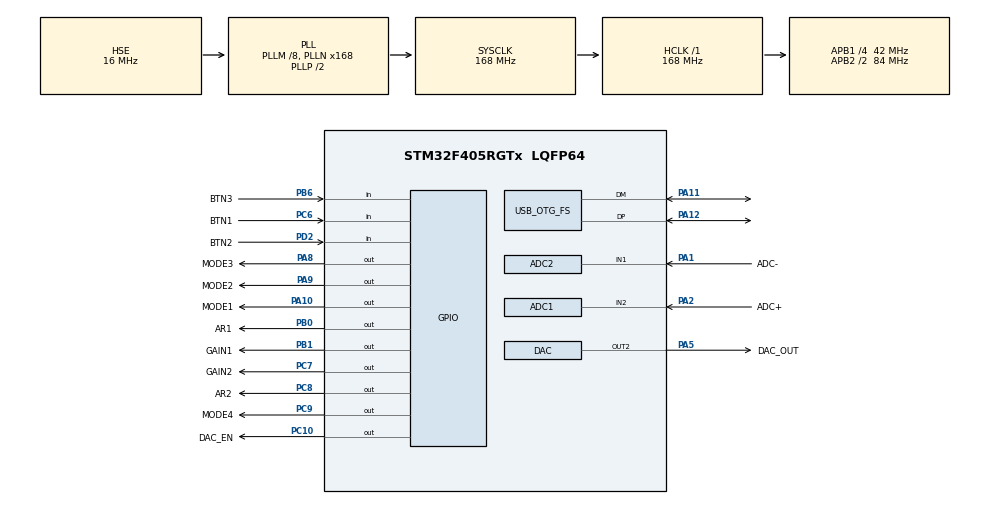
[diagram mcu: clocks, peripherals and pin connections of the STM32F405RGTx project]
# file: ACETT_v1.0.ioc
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ADC1.Channel-0\#ChannelRegularConversion=ADC_CHANNEL_2
ADC1.DMAContinuousRequests=ENABLE
ADC1.ExternalTrigConv=ADC_EXTERNALTRIGCONV_T8_TRGO
ADC1.NbrOfConversionFlag=1
ADC1.Rank-0\#ChannelRegularConversion=1
ADC1.SamplingTime-0\#ChannelRegularConversion=ADC_SAMPLETIME_3CYCLES
ADC1.master=1
ADC2.Channel-0\#ChannelRegularConversion=ADC_CHANNEL_1
ADC2.DMAContinuousRequests=ENABLE
ADC2.ExternalTrigConv=ADC_EXTERNALTRIGCONV_T8_TRGO
ADC2.NbrOfConversionFlag=1
ADC2.Rank-0\#ChannelRegularConversion=1
ADC2.SamplingTime-0\#ChannelRegularConversion=ADC_SAMPLETIME_3CYCLES
DAC.DAC_Trigger2=DAC_TRIGGER_T8_TRGO
Dma.ADC1.1.Direction=DMA_PERIPH_TO_MEMORY
Dma.ADC1.1.FIFOMode=DMA_FIFOMODE_DISABLE
Dma.ADC1.1.Instance=DMA2_Stream0
Dma.ADC1.1.MemDataAlignment=DMA_MDATAALIGN_HALFWORD
Dma.ADC1.1.MemInc=DMA_MINC_ENABLE
Dma.ADC1.1.Mode=DMA_CIRCULAR
Dma.ADC1.1.PeriphDataAlignment=DMA_PDATAALIGN_HALFWORD
Dma.ADC1.1.PeriphInc=DMA_PINC_DISABLE
Dma.ADC1.1.Priority=DMA_PRIORITY_HIGH
Dma.ADC2.2.Direction=DMA_PERIPH_TO_MEMORY
Dma.ADC2.2.FIFOMode=DMA_FIFOMODE_DISABLE
Dma.ADC2.2.Instance=DMA2_Stream2
Dma.ADC2.2.MemDataAlignment=DMA_MDATAALIGN_HALFWORD
Dma.ADC2.2.MemInc=DMA_MINC_ENABLE
Dma.ADC2.2.Mode=DMA_CIRCULAR
Dma.ADC2.2.PeriphDataAlignment=DMA_PDATAALIGN_HALFWORD
Dma.ADC2.2.PeriphInc=DMA_PINC_DISABLE
Dma.ADC2.2.Priority=DMA_PRIORITY_HIGH
Dma.DAC2.0.Direction=DMA_MEMORY_TO_PERIPH
Dma.DAC2.0.FIFOMode=DMA_FIFOMODE_DISABLE
Dma.DAC2.0.Instance=DMA1_Stream6
Dma.DAC2.0.MemDataAlignment=DMA_MDATAALIGN_WORD
Dma.DAC2.0.MemInc=DMA_MINC_ENABLE
Dma.DAC2.0.Mode=DMA_CIRCULAR
Dma.DAC2.0.PeriphDataAlignment=DMA_PDATAALIGN_WORD
Dma.DAC2.0.PeriphInc=DMA_PINC_DISABLE
Dma.DAC2.0.Priority=DMA_PRIORITY_HIGH
Dma.Request0=DAC2
Dma.Request1=ADC1
Dma.Request2=ADC2
Mcu.Family=STM32F4
Mcu.Name=STM32F405RGTx
Mcu.Package=LQFP64
NVIC.DMA1_Stream6_IRQn=true\:0\:0\:false\:false\:true\:false\:true\:true
NVIC.DMA2_Stream0_IRQn=true\:0\:0\:false\:false\:true\:false\:true\:true
NVIC.DMA2_Stream2_IRQn=true\:0\:0\:false\:false\:true\:false\:true\:true
NVIC.OTG_FS_IRQn=true\:0\:0\:false\:false\:true\:false\:true\:true
NVIC.PriorityGroup=NVIC_PRIORITYGROUP_4
PA1.GPIO_Label=ADC-
PA1.Signal=ADCx_IN1
PA10.GPIO_Label=MODE1
PA10.Signal=GPIO_Output
PA11.Mode=Device_Only
PA11.Signal=USB_OTG_FS_DM
PA12.Mode=Device_Only
PA12.Signal=USB_OTG_FS_DP
PA2.GPIO_Label=ADC+
PA2.Signal=ADCx_IN2
PA5.GPIO_Label=DAC_OUT
PA5.Signal=COMP_DAC2_group
PA8.GPIO_Label=MODE3
PA8.Signal=GPIO_Output
PA9.GPIO_Label=MODE2
PA9.Signal=GPIO_Output
PB0.GPIO_Label=AR1
PB0.GPIO_PuPd=GPIO_PULLDOWN
PB0.Signal=GPIO_Output
PB1.GPIO_Label=GAIN1
PB1.GPIO_PuPd=GPIO_PULLDOWN
PB1.PinState=GPIO_PIN_RESET
PB1.Signal=GPIO_Output
PB6.GPIO_Label=BTN3
PB6.Signal=GPIO_Input
PC10.GPIO_Label=DAC_EN
PC10.GPIO_PuPd=GPIO_PULLUP
PC10.PinState=GPIO_PIN_SET
PC10.Signal=GPIO_Output
PC6.GPIO_Label=BTN1
PC6.Signal=GPIO_Input
PC7.GPIO_Label=GAIN2
PC7.GPIO_PuPd=GPIO_PULLDOWN
PC7.Signal=GPIO_Output
PC8.GPIO_Label=AR2
PC8.GPIO_PuPd=GPIO_PULLDOWN
PC8.Signal=GPIO_Output
PC9.GPIO_Label=MODE4
PC9.Signal=GPIO_Output
PD2.GPIO_Label=BTN2
PD2.Signal=GPIO_Input
PH0-OSC_IN.Mode=HSE-External-Oscillator
PH0-OSC_IN.Signal=RCC_OSC_IN
PH1-OSC_OUT.Mode=HSE-External-Oscillator
PH1-OSC_OUT.Signal=RCC_OSC_OUT
ProjectManager.HeapSize=0x200
ProjectManager.StackSize=0x400
ProjectManager.TargetToolchain=STM32CubeIDE
RCC.48MHZClocksFreq_Value=48000000
RCC.AHBFreq_Value=168000000
RCC.APB1CLKDivider=RCC_HCLK_DIV4
RCC.APB1Freq_Value=42000000
RCC.APB1TimFreq_Value=84000000
RCC.APB2CLKDivider=RCC_HCLK_DIV2
RCC.APB2Freq_Value=84000000
RCC.APB2TimFreq_Value=168000000
RCC.CortexFreq_Value=168000000
RCC.HCLKFreq_Value=168000000
RCC.HSE_VALUE=16000000
RCC.HSI_VALUE=16000000
RCC.LSE_VALUE=32768
RCC.PLLM=8
RCC.PLLN=168
RCC.PLLQ=7
RCC.SYSCLKFreq_VALUE=168000000
RCC.SYSCLKSource=RCC_SYSCLKSOURCE_PLLCLK
RCC.VCOOutputFreq_Value=336000000
SH.ADCx_IN1.0=ADC2_IN1,IN1
SH.ADCx_IN2.0=ADC1_IN2,IN2
SH.COMP_DAC2_group.0=DAC_OUT2,DAC_OUT2
TIM8.AutoReloadPreload=TIM_AUTORELOAD_PRELOAD_ENABLE
TIM8.Period=3499
TIM8.TIM_MasterOutputTrigger=TIM_TRGO_UPDATE
USB_DEVICE.CLASS_NAME_FS=CDC
USB_DEVICE.VirtualMode-CDC_FS=Cdc
USB_DEVICE.VirtualModeFS=Cdc_FS
USB_OTG_FS.VirtualMode=Device_Only
VP_TIM8_VS_ClockSourceINT.Mode=Internal
VP_USB_DEVICE_VS_USB_DEVICE_CDC_FS.Mode=CDC_FS
board=custom

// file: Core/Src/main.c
/* USER CODE BEGIN Header */
/**
  ******************************************************************************
  * @file           : main.c
  * @brief          : Main program body
  ******************************************************************************
  * @attention
  *
  * Copyright (c) 2023 STMicroelectronics.
  * All rights reserved.
  *
  * This software is licensed under terms that can be found in the LICENSE file
  * in the root directory of this software component.
  * If no LICENSE file comes with this software, it is provided AS-IS.
  *
  ******************************************************************************
  */
#define ARM_MATH_CM4
/* USER CODE END Header */
#include "main.h"
#include "usb_device.h"

/* USER CODE BEGIN Includes */
#include "arm_math.h"
#include "math.h"
#include "usbd_cdc_if.h"
#include "KalmanFilter.h"
/* USER CODE END Includes */

/* USER CODE BEGIN PTD */
#define DATASIZE 1024
#define FULLSIZE 2048
#define Fs 48000
/* USER CODE END PTD */

ADC_HandleTypeDef hadc1;
ADC_HandleTypeDef hadc2;
DMA_HandleTypeDef hdma_adc1;
DMA_HandleTypeDef hdma_adc2;

DAC_HandleTypeDef hdac;
DMA_HandleTypeDef hdma_dac2;

TIM_HandleTypeDef htim8;

void SystemClock_Config(void);
static void MX_GPIO_Init(void);
static void MX_DMA_Init(void);
static void MX_ADC1_Init(void);
static void MX_ADC2_Init(void);
static void MX_DAC_Init(void);
static void MX_TIM8_Init(void);

/* USER CODE BEGIN 0 */
uint16_t ADC1_buf[FULLSIZE]; //ADC1 DMA buffer
uint16_t ADC2_buf[FULLSIZE]; //ADC2 DMA buffer
uint32_t DAC_buf[FULLSIZE]; //DAC DMA buffer
float32_t data[DATASIZE]; //processing buffer for each window
float32_t datasqrd[DATASIZE]; //squared buffer
float32_t SPL; //SPL measurement

static volatile uint16_t* inbufPtr1;
static volatile uint16_t* inbufPtr2;
static volatile uint32_t* outbufPtr;

arm_rfft_fast_instance_f32 FFT_IFFT_struct; //handler of FFT process
float32_t fftBuffer[DATASIZE]; //main FFT buffer - complex values
float32_t fftMAG[DATASIZE/2]; //main magnitudes FFT buffer - real values
float32_t synthBuffer[DATASIZE]; //synthesize buffer to create the output signal
float32_t ifftBuffer[DATASIZE]; //output signal after RIFFT process
uint32_t maxIndex[3]; //holds the indexes of FFT magnitudes at max values
float32_t maxValue[3]; //holds the max values of FFT magnitudes

//initialize frequency bins to search speech formants
// !!! content excluded !!!
int binCityCut; // LPF for city mode
int binMusicCut; // LPF for music mode

//buttons logic
int btn1Pressed = 0;
int btn2Pressed = 0;
int btn3Pressed = 0;
int cntBtnCycles = 0;

int state; // this is the state of the buttons' logic
float32_t VOLUME; // this is a constant gain applied to the output signal
float32_t CF; //frequency factor to convert bins to frequencies
uint32_t EXP_MALE[DATASIZE/2]; // this buffer holds male frequency transformations
uint32_t EXP_FEMALE[DATASIZE/2]; // this buffer holds male frequency transformations
uint32_t FRICATIVE[DATASIZE/2]; // this buffer holds fricative transformations
uint32_t CITY_Transform[DATASIZE/2]; // this buffer holds city transformations
uint32_t NATURE_Transform[DATASIZE/2]; // this buffer holds nature transformations
uint32_t MUSIC_Transform[DATASIZE/2]; // this buffer holds music transformations
float32_t Cosines[DATASIZE/2]; // this buffer hold cosine values so they are pre-evaluated for the phase transformation
float32_t Sines[DATASIZE/2]; // this buffer hold sine values so they are pre-evaluated for the phase transformation

// KALMAN filter variables
float Ptemp;
float prev_input;

void proccessSpeechMode(){
	// !!! content excluded !!!
}

void proccessCityMode(){
	// !!! content excluded !!!
}

void proccessNatureMode(){
	// !!! content excluded !!!
}

void proccessMusicMode(){
	// !!! content excluded !!!
}

void process_DSP()
{

    for (int n=0; n<DATASIZE; n++)
    {
    	data[n] = (float32_t) ((inbufPtr1[n])*3.3/4096); //capturing the data from DMA ADC
    	datasqrd[n] = data[n]*data[n];
    }

    arm_max_f32(datasqrd,DATASIZE,&maxValue[0],&maxIndex[0]); // find max amplitude in data squared to normalize the measurements
    for (int n=0; n<DATASIZE; n++)
    {
    	SPL += (float32_t) (10*log10f(maxValue[0]/datasqrd[n])/DATASIZE);
    }
    SPL += 56;

    arm_rfft_fast_f32(&FFT_IFFT_struct, data, fftBuffer,0); //RFFT

    //zero out DC frequency
    fftBuffer[0] = 0;
    fftBuffer[1] = 0;

    //get magnitude values and cut noise from spectrum. There is also added a transient region for the values that are close to noise cutoff level but also could be considered as wanted signal
    for(int n=0;n<DATASIZE/2;n++){
	  	 fftMAG[n] = sqrtf(fftBuffer[2*n]*fftBuffer[2*n] +  fftBuffer[2*n+1]*fftBuffer[2*n+1]);
	  	 if(fftMAG[n] > 4  && fftMAG[n] <= 5){
	  		fftBuffer[2*n] = (fftMAG[n] - 4)*fftBuffer[2*n];
	  		fftBuffer[2*n + 1] = (fftMAG[n] - 4)*fftBuffer[2*n + 1];
	  	 }
	  	 else if(fftMAG[n] > 5){
	  		fftBuffer[2*n] = fftBuffer[2*n];
	  		fftBuffer[2*n + 1] = fftBuffer[2*n + 1];
	  	 }
	  	 else{
	  		fftBuffer[2*n] = 0;
	  		fftBuffer[2*n + 1] = 0;
	  	 }

    }

    //Apply frequency compression depending on the mode of application
    switch(state){
    case 1:{
    	proccessSpeechMode(); //Speech mode
    	break;
    }
    case 2:{
    	proccessCityMode(); //City mode
    	break;
    }
    case 3:{
    	proccessNatureMode(); //Nature mode
    	break;
    }
    case 4:{
    	proccessMusicMode(); //Music mode
    	break;
    }
    default : break;
    }

    arm_rfft_fast_f32(&FFT_IFFT_struct, synthBuffer, ifftBuffer,1); //RIFFT

    //Write back the values to the DMA DAC buffer with a DC offset of 1.65V and a programmable constant gain to prevent clipping
    for (int n=0; n<DATASIZE; n++)
    {
        outbufPtr[n] = (uint32_t) ((VOLUME*ifftBuffer[n] + 1.65)*(4096/3.3));
    }

}

void UserInterface(){

	//Check which button was pressed to start counting cycles
	if(HAL_GPIO_ReadPin(GPIOC,GPIO_PIN_6) == GPIO_PIN_RESET && btn1Pressed==0){
		btn1Pressed = 1;
		cntBtnCycles = 0;
	}
	if(HAL_GPIO_ReadPin(GPIOD,GPIO_PIN_2) == GPIO_PIN_RESET && btn2Pressed==0){
		btn2Pressed = 1;
		cntBtnCycles = 0;
	}
	if(HAL_GPIO_ReadPin(GPIOB,GPIO_PIN_6) == GPIO_PIN_RESET && btn3Pressed==0){
		btn3Pressed = 1;
		cntBtnCycles = 0;
	}

	//Check which button was released depending on the counting cycles and then perform the appropriate actions (Mode switching, Volume switching, LED turning on/off). Finally reset the cycles and the button's logic state as "not pressed".
	if(btn1Pressed==1 && cntBtnCycles >= 30 && HAL_GPIO_ReadPin(GPIOC,GPIO_PIN_6) == GPIO_PIN_SET){
		switch(state){
		case 1:{
			HAL_GPIO_WritePin(GPIOA, GPIO_PIN_10, GPIO_PIN_RESET);
			HAL_GPIO_WritePin(GPIOA, GPIO_PIN_9, GPIO_PIN_SET);
			state = 2;
			VOLUME = 1;
			break;
		}
		case 2:{
			HAL_GPIO_WritePin(GPIOA, GPIO_PIN_9, GPIO_PIN_RESET);
			HAL_GPIO_WritePin(GPIOA, GPIO_PIN_8, GPIO_PIN_SET);
			state = 3;
			VOLUME = 1;
			break;
		}
		case 3:{
			HAL_GPIO_WritePin(GPIOA, GPIO_PIN_8, GPIO_PIN_RESET);
			HAL_GPIO_WritePin(GPIOC, GPIO_PIN_9, GPIO_PIN_SET);
			state = 4;
			VOLUME = 1;
			break;
		}
		case 4:{
			HAL_GPIO_WritePin(GPIOC, GPIO_PIN_9, GPIO_PIN_RESET);
			HAL_GPIO_WritePin(GPIOA, GPIO_PIN_10, GPIO_PIN_SET);
			state = 1;
			VOLUME = 1;
			break;
		}
		default: break;
		}
		btn1Pressed = 0;
	}
	if(btn2Pressed==1 && cntBtnCycles >= 30 && HAL_GPIO_ReadPin(GPIOD,GPIO_PIN_2) == GPIO_PIN_SET && VOLUME<3){
		VOLUME +=0.1;
		btn2Pressed = 0;
	}
	if(btn3Pressed==1 && cntBtnCycles >= 30 && HAL_GPIO_ReadPin(GPIOB,GPIO_PIN_6) == GPIO_PIN_SET && VOLUME>0){
		VOLUME -=0.1;
		btn3Pressed = 0;
	}

}

/* USER CODE END 0 */

int main(void)
{

  /* MCU Configuration--------------------------------------------------------*/

  /* Reset of all peripherals, Initializes the Flash interface and the Systick. */
  HAL_Init();

  /* Configure the system clock */
  SystemClock_Config();

  /* Initialize all configured peripherals */
  MX_GPIO_Init();
  MX_DMA_Init();
  MX_ADC1_Init();
  MX_ADC2_Init();
  MX_DAC_Init();
  MX_USB_DEVICE_Init();
  MX_TIM8_Init();
  /* USER CODE BEGIN 2 */
  HAL_ADC_Start_DMA(&hadc1, (uint32_t*)ADC1_buf, FULLSIZE); //start ADC1 DMA
  HAL_ADC_Start_DMA(&hadc2, (uint32_t*)ADC2_buf, FULLSIZE); //start ADC2 DMA
  HAL_DAC_Start_DMA(&hdac, DAC_CHANNEL_2, (uint32_t*)DAC_buf, FULLSIZE, DAC_ALIGN_12B_R); //start DAC DMA
  HAL_TIM_Base_Start_IT(&htim8); //start ADC/DAC Timer
  arm_rfft_fast_init_f32(&FFT_IFFT_struct, DATASIZE); //initialize FFT process

  //initialize variables
  CF = Fs/DATASIZE;
// !!! content excluded !!!

  // set speech mode by default
  state = 1;

  // initialize VOLUME
  VOLUME = 1;

  // initialize KALMAN variables
  Ptemp = 0.5;
  prev_input = 0.0;

  //initialize filters
  for(int n=0;n<DATASIZE/2;n++){
	 // !!! content excluded !!!
	  Cosines[n] = (float32_t) cosf(2*M_PI*n/Fs);
	  Sines[n] = (float32_t) sinf(2*M_PI*n/Fs);
  }
  //Run on speech mode on startup, so write the appropriate value on its LED
  HAL_GPIO_WritePin(GPIOA, GPIO_PIN_10, GPIO_PIN_SET);

  /* USER CODE END 2 */

  /* Infinite loop */
  while (1)
  {

    /* USER CODE BEGIN 3 */

	 for(int k=0;k<DATASIZE;k++){
		 char TX[128];
		 sprintf(TX,"%f\r\n", SPL);
		 CDC_Transmit_FS((uint8_t *)TX,strlen(TX));
	 }
  }
  /* USER CODE END 3 */
}

void SystemClock_Config(void)
{
  RCC_OscInitTypeDef RCC_OscInitStruct = {0};
  RCC_ClkInitTypeDef RCC_ClkInitStruct = {0};

  /** Configure the main internal regulator output voltage
  */
  __HAL_RCC_PWR_CLK_ENABLE();
  __HAL_PWR_VOLTAGESCALING_CONFIG(PWR_REGULATOR_VOLTAGE_SCALE1);

  /** Initializes the RCC Oscillators according to the specified parameters
  * in the RCC_OscInitTypeDef structure.
  */
  RCC_OscInitStruct.OscillatorType = RCC_OSCILLATORTYPE_HSE;
  RCC_OscInitStruct.HSEState = RCC_HSE_ON;
  RCC_OscInitStruct.PLL.PLLState = RCC_PLL_ON;
  RCC_OscInitStruct.PLL.PLLSource = RCC_PLLSOURCE_HSE;
  RCC_OscInitStruct.PLL.PLLM = 8;
  RCC_OscInitStruct.PLL.PLLN = 168;
  RCC_OscInitStruct.PLL.PLLP = RCC_PLLP_DIV2;
  RCC_OscInitStruct.PLL.PLLQ = 7;
  if (HAL_RCC_OscConfig(&RCC_OscInitStruct) != HAL_OK)
  {
    Error_Handler();
  }

  /** Initializes the CPU, AHB and APB buses clocks
  */
  RCC_ClkInitStruct.ClockType = RCC_CLOCKTYPE_HCLK|RCC_CLOCKTYPE_SYSCLK
                              |RCC_CLOCKTYPE_PCLK1|RCC_CLOCKTYPE_PCLK2;
  RCC_ClkInitStruct.SYSCLKSource = RCC_SYSCLKSOURCE_PLLCLK;
  RCC_ClkInitStruct.AHBCLKDivider = RCC_SYSCLK_DIV1;
  RCC_ClkInitStruct.APB1CLKDivider = RCC_HCLK_DIV4;
  RCC_ClkInitStruct.APB2CLKDivider = RCC_HCLK_DIV2;

  if (HAL_RCC_ClockConfig(&RCC_ClkInitStruct, FLASH_LATENCY_5) != HAL_OK)
  {
    Error_Handler();
  }
}

static void MX_ADC1_Init(void)
{

  ADC_ChannelConfTypeDef sConfig = {0};

  /** Configure the global features of the ADC (Clock, Resolution, Data Alignment and number of conversion)
  */
  hadc1.Instance = ADC1;
  hadc1.Init.ClockPrescaler = ADC_CLOCK_SYNC_PCLK_DIV4;
  hadc1.Init.Resolution = ADC_RESOLUTION_12B;
  hadc1.Init.ScanConvMode = DISABLE;
  hadc1.Init.ContinuousConvMode = DISABLE;
  hadc1.Init.DiscontinuousConvMode = DISABLE;
  hadc1.Init.ExternalTrigConvEdge = ADC_EXTERNALTRIGCONVEDGE_RISING;
  hadc1.Init.ExternalTrigConv = ADC_EXTERNALTRIGCONV_T8_TRGO;
  hadc1.Init.DataAlign = ADC_DATAALIGN_RIGHT;
  hadc1.Init.NbrOfConversion = 1;
  hadc1.Init.DMAContinuousRequests = ENABLE;
  hadc1.Init.EOCSelection = ADC_EOC_SINGLE_CONV;
  if (HAL_ADC_Init(&hadc1) != HAL_OK)
  {
    Error_Handler();
  }

  /** Configure for the selected ADC regular channel its corresponding rank in the sequencer and its sample time.
  */
  sConfig.Channel = ADC_CHANNEL_2;
  sConfig.Rank = 1;
  sConfig.SamplingTime = ADC_SAMPLETIME_3CYCLES;
  if (HAL_ADC_ConfigChannel(&hadc1, &sConfig) != HAL_OK)
  {
    Error_Handler();
  }

}

static void MX_ADC2_Init(void)
{

  ADC_ChannelConfTypeDef sConfig = {0};

  /** Configure the global features of the ADC (Clock, Resolution, Data Alignment and number of conversion)
  */
  hadc2.Instance = ADC2;
  hadc2.Init.ClockPrescaler = ADC_CLOCK_SYNC_PCLK_DIV4;
  hadc2.Init.Resolution = ADC_RESOLUTION_12B;
  hadc2.Init.ScanConvMode = DISABLE;
  hadc2.Init.ContinuousConvMode = DISABLE;
  hadc2.Init.DiscontinuousConvMode = DISABLE;
  hadc2.Init.ExternalTrigConvEdge = ADC_EXTERNALTRIGCONVEDGE_RISING;
  hadc2.Init.ExternalTrigConv = ADC_EXTERNALTRIGCONV_T8_TRGO;
  hadc2.Init.DataAlign = ADC_DATAALIGN_RIGHT;
  hadc2.Init.NbrOfConversion = 1;
  hadc2.Init.DMAContinuousRequests = ENABLE;
  hadc2.Init.EOCSelection = ADC_EOC_SINGLE_CONV;
  if (HAL_ADC_Init(&hadc2) != HAL_OK)
  {
    Error_Handler();
  }

  /** Configure for the selected ADC regular channel its corresponding rank in the sequencer and its sample time.
  */
  sConfig.Channel = ADC_CHANNEL_1;
  sConfig.Rank = 1;
  sConfig.SamplingTime = ADC_SAMPLETIME_3CYCLES;
  if (HAL_ADC_ConfigChannel(&hadc2, &sConfig) != HAL_OK)
  {
    Error_Handler();
  }

}

static void MX_DAC_Init(void)
{

  DAC_ChannelConfTypeDef sConfig = {0};

  /** DAC Initialization
  */
  hdac.Instance = DAC;
  if (HAL_DAC_Init(&hdac) != HAL_OK)
  {
    Error_Handler();
  }

  /** DAC channel OUT2 config
  */
  sConfig.DAC_Trigger = DAC_TRIGGER_T8_TRGO;
  sConfig.DAC_OutputBuffer = DAC_OUTPUTBUFFER_ENABLE;
  if (HAL_DAC_ConfigChannel(&hdac, &sConfig, DAC_CHANNEL_2) != HAL_OK)
  {
    Error_Handler();
  }

}

static void MX_TIM8_Init(void)
{

  TIM_ClockConfigTypeDef sClockSourceConfig = {0};
  TIM_MasterConfigTypeDef sMasterConfig = {0};

  htim8.Instance = TIM8;
  htim8.Init.Prescaler = 0;
  htim8.Init.CounterMode = TIM_COUNTERMODE_UP;
  htim8.Init.Period = 3499;
  htim8.Init.ClockDivision = TIM_CLOCKDIVISION_DIV1;
  htim8.Init.RepetitionCounter = 0;
  htim8.Init.AutoReloadPreload = TIM_AUTORELOAD_PRELOAD_ENABLE;
  if (HAL_TIM_Base_Init(&htim8) != HAL_OK)
  {
    Error_Handler();
  }
  sClockSourceConfig.ClockSource = TIM_CLOCKSOURCE_INTERNAL;
  if (HAL_TIM_ConfigClockSource(&htim8, &sClockSourceConfig) != HAL_OK)
  {
    Error_Handler();
  }
  sMasterConfig.MasterOutputTrigger = TIM_TRGO_UPDATE;
  sMasterConfig.MasterSlaveMode = TIM_MASTERSLAVEMODE_DISABLE;
  if (HAL_TIMEx_MasterConfigSynchronization(&htim8, &sMasterConfig) != HAL_OK)
  {
    Error_Handler();
  }

}

static void MX_DMA_Init(void)
{

  /* DMA controller clock enable */
  __HAL_RCC_DMA1_CLK_ENABLE();
  __HAL_RCC_DMA2_CLK_ENABLE();

  /* DMA interrupt init */
  /* DMA1_Stream6_IRQn interrupt configuration */
  HAL_NVIC_SetPriority(DMA1_Stream6_IRQn, 0, 0);
  HAL_NVIC_EnableIRQ(DMA1_Stream6_IRQn);
  /* DMA2_Stream0_IRQn interrupt configuration */
  HAL_NVIC_SetPriority(DMA2_Stream0_IRQn, 0, 0);
  HAL_NVIC_EnableIRQ(DMA2_Stream0_IRQn);
  /* DMA2_Stream2_IRQn interrupt configuration */
  HAL_NVIC_SetPriority(DMA2_Stream2_IRQn, 0, 0);
  HAL_NVIC_EnableIRQ(DMA2_Stream2_IRQn);

}

static void MX_GPIO_Init(void)
{
  GPIO_InitTypeDef GPIO_InitStruct = {0};

  /* GPIO Ports Clock Enable */
  __HAL_RCC_GPIOH_CLK_ENABLE();
  __HAL_RCC_GPIOA_CLK_ENABLE();
  __HAL_RCC_GPIOB_CLK_ENABLE();
  __HAL_RCC_GPIOC_CLK_ENABLE();
  __HAL_RCC_GPIOD_CLK_ENABLE();

  /*Configure GPIO pin Output Level */
  HAL_GPIO_WritePin(GPIOB, AR1_Pin|GAIN1_Pin, GPIO_PIN_RESET);

  /*Configure GPIO pin Output Level */
  HAL_GPIO_WritePin(GPIOC, GAIN2_Pin|AR2_Pin|MODE4_Pin, GPIO_PIN_RESET);

  /*Configure GPIO pin Output Level */
  HAL_GPIO_WritePin(GPIOA, MODE3_Pin|MODE2_Pin|MODE1_Pin, GPIO_PIN_RESET);

  /*Configure GPIO pin Output Level */
  HAL_GPIO_WritePin(DAC_EN_GPIO_Port, DAC_EN_Pin, GPIO_PIN_SET);

  /*Configure GPIO pins : AR1_Pin GAIN1_Pin */
  GPIO_InitStruct.Pin = AR1_Pin|GAIN1_Pin;
  GPIO_InitStruct.Mode = GPIO_MODE_OUTPUT_PP;
  GPIO_InitStruct.Pull = GPIO_PULLDOWN;
  GPIO_InitStruct.Speed = GPIO_SPEED_FREQ_LOW;
  HAL_GPIO_Init(GPIOB, &GPIO_InitStruct);

  /*Configure GPIO pin : BTN1_Pin */
  GPIO_InitStruct.Pin = BTN1_Pin;
  GPIO_InitStruct.Mode = GPIO_MODE_INPUT;
  GPIO_InitStruct.Pull = GPIO_NOPULL;
  HAL_GPIO_Init(BTN1_GPIO_Port, &GPIO_InitStruct);

  /*Configure GPIO pins : GAIN2_Pin AR2_Pin */
  GPIO_InitStruct.Pin = GAIN2_Pin|AR2_Pin;
  GPIO_InitStruct.Mode = GPIO_MODE_OUTPUT_PP;
  GPIO_InitStruct.Pull = GPIO_PULLDOWN;
  GPIO_InitStruct.Speed = GPIO_SPEED_FREQ_LOW;
  HAL_GPIO_Init(GPIOC, &GPIO_InitStruct);

  /*Configure GPIO pin : MODE4_Pin */
  GPIO_InitStruct.Pin = MODE4_Pin;
  GPIO_InitStruct.Mode = GPIO_MODE_OUTPUT_PP;
  GPIO_InitStruct.Pull = GPIO_NOPULL;
  GPIO_InitStruct.Speed = GPIO_SPEED_FREQ_LOW;
  HAL_GPIO_Init(MODE4_GPIO_Port, &GPIO_InitStruct);

  /*Configure GPIO pins : MODE3_Pin MODE2_Pin MODE1_Pin */
  GPIO_InitStruct.Pin = MODE3_Pin|MODE2_Pin|MODE1_Pin;
  GPIO_InitStruct.Mode = GPIO_MODE_OUTPUT_PP;
  GPIO_InitStruct.Pull = GPIO_NOPULL;
  GPIO_InitStruct.Speed = GPIO_SPEED_FREQ_LOW;
  HAL_GPIO_Init(GPIOA, &GPIO_InitStruct);

  /*Configure GPIO pin : DAC_EN_Pin */
  GPIO_InitStruct.Pin = DAC_EN_Pin;
  GPIO_InitStruct.Mode = GPIO_MODE_OUTPUT_PP;
  GPIO_InitStruct.Pull = GPIO_PULLUP;
  GPIO_InitStruct.Speed = GPIO_SPEED_FREQ_LOW;
  HAL_GPIO_Init(DAC_EN_GPIO_Port, &GPIO_InitStruct);

  /*Configure GPIO pin : BTN2_Pin */
  GPIO_InitStruct.Pin = BTN2_Pin;
  GPIO_InitStruct.Mode = GPIO_MODE_INPUT;
  GPIO_InitStruct.Pull = GPIO_NOPULL;
  HAL_GPIO_Init(BTN2_GPIO_Port, &GPIO_InitStruct);

  /*Configure GPIO pin : BTN3_Pin */
  GPIO_InitStruct.Pin = BTN3_Pin;
  GPIO_InitStruct.Mode = GPIO_MODE_INPUT;
  GPIO_InitStruct.Pull = GPIO_NOPULL;
  HAL_GPIO_Init(BTN3_GPIO_Port, &GPIO_InitStruct);

}

/* USER CODE BEGIN 4 */
void HAL_ADC_ConvHalfCpltCallback(ADC_HandleTypeDef* hadc){

	//reset SPL
    SPL = 0;

	//pointers to the data addresses of the DMA streams (for the first half stream, we point at the start)
	inbufPtr1 = &ADC1_buf[0];
	inbufPtr2 = &ADC2_buf[0];
	outbufPtr = &DAC_buf[0];

	//check case where one of the buttons was pressed and continue counting cycles of 1/SAMPLERATE seconds. The counting stops when the button is released within its specified time.
	if(btn1Pressed || btn2Pressed || btn3Pressed){
		cntBtnCycles++;
	}

	//Always run the main application as it is described in the following two functions : 1st is running the User Interface algorithm and 2nd is running the main DSP processing algorithm
	UserInterface();
	process_DSP();
}
void HAL_ADC_ConvCpltCallback(ADC_HandleTypeDef* hadc){

	//reset SPL
    SPL = 0;

	//pointers to the data addresses of the DMA streams (for the second half stream, we point at the DATASIZE index)
	inbufPtr1 = &ADC1_buf[DATASIZE];
	inbufPtr2 = &ADC2_buf[DATASIZE];
	outbufPtr = &DAC_buf[DATASIZE];

	//check case where one of the buttons was pressed and continue counting cycles of 1/SAMPLERATE seconds. The counting stops when the button is released within its specified time.
	if(btn1Pressed || btn2Pressed || btn3Pressed){
		cntBtnCycles++;
	}

	//Always run the main application as it is described in the following two functions : 1st is running the User Interface algorithm and 2nd is running the main DSP processing algorithm
	UserInterface();
	process_DSP();
}
/* USER CODE END 4 */

void Error_Handler(void)
{
  __disable_irq();
  while (1)
  {
  }
}
